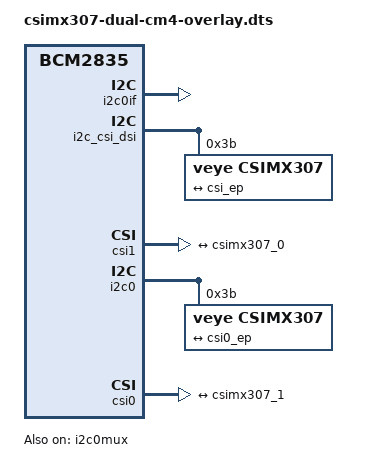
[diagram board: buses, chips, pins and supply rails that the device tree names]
// SPDX-License-Identifier: GPL-2.0-only
// Definitions for CS-MIPI-IMX307 camera module on VC I2C bus
/dts-v1/;
/plugin/;

#include <dt-bindings/gpio/gpio.h>

/{
	compatible = "brcm,bcm2835";

	fragment@0 {
		target = <&i2c0if>;
		__overlay__ {
			status = "okay";
		};
	};

	clk_frag: fragment@1 {
		target = <&cam1_clk>;
		__overlay__ {
			status = "okay";
			clock-frequency = <24000000>;
		};
	};

	fragment@2 {
		target = <&i2c0mux>;
		__overlay__ {
			status = "okay";
		};
	};
	i2c_frag: fragment@100 {
		target = <&i2c_csi_dsi>;
		__overlay__ {
			#address-cells = <1>;
			#size-cells = <0>;
			status = "okay";

			csimx307@3b {
				compatible = "veye,csimx307";
				reg = <0x3b>;
				status = "okay";


				rotation = <0>;

				port {
					csimx307_0: endpoint {
						remote-endpoint = <&csi_ep>;
						clock-lanes = <0>;
						data-lanes = <1 2>;
						clock-noncontinuous;
						link-frequencies =
							/bits/ 64 <297000000>;
					};
				};
			};
		};
	};

	csi_frag: fragment@101 {
		target = <&csi1>;
		csi: __overlay__ {
			status = "okay";

			port {
				csi1_ep: endpoint {
					remote-endpoint = <&csimx307_0>;
					clock-lanes = <0>;
					data-lanes = <1 2>;
					clock-noncontinuous;
				};
			};
		};
	};
    i2c_frag2: fragment@102 {
		target = <&i2c0>;
		__overlay__ {
			#address-cells = <1>;
			#size-cells = <0>;
			status = "okay";
            csimx307@3b {
				compatible = "veye,csimx307";
				reg = <0x3b>;
				status = "okay";


				rotation = <0>;

				port {
					csimx307_1: endpoint {
						remote-endpoint = <&csi0_ep>;
						clock-lanes = <0>;
						data-lanes = <1 2>;
						clock-noncontinuous;
						link-frequencies =
							/bits/ 64 <297000000>;
					};
				};
			};
		};
	};

	csi_frag2: fragment@103 {
		target = <&csi0>;
		csi: __overlay__ {
			status = "okay";

			port {
				csi0_ep: endpoint {
					remote-endpoint = <&csimx307_1>;
					clock-lanes = <0>;
					data-lanes = <1 2>;
					clock-noncontinuous;
				};
			};
		};
	};

	__overrides__ {
		
		cam0 = <&i2c_frag>, "target:0=",<&i2c_vc>,
		       <&csi_frag>, "target:0=",<&csi0>;
        cam1 = <&i2c_frag2>, "target:0=",<&i2c_arm>,
		       <&csi_frag2>, "target:0=",<&csi1>;
	};


};
